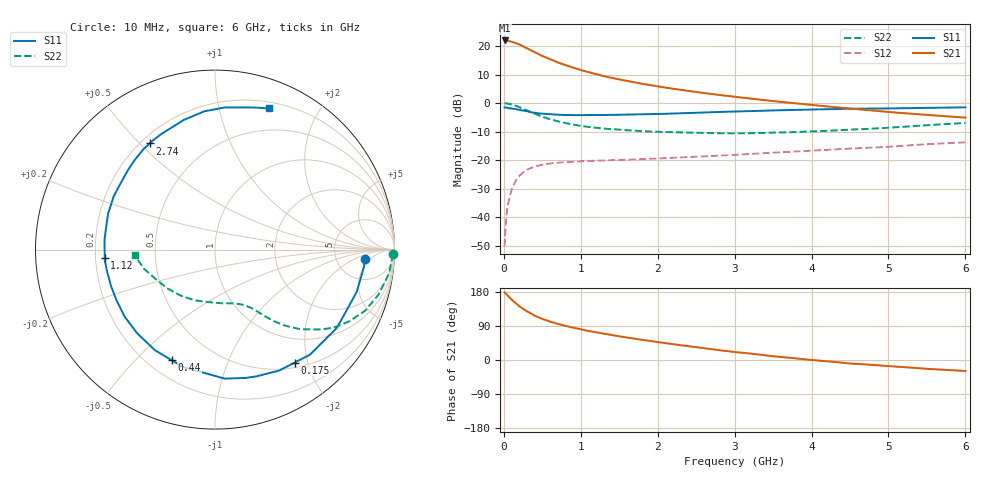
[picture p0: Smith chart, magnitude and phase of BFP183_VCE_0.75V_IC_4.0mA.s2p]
! Infineon Technologies  Discrete & RF Semiconductors
! BFP183
! VCE = 0.75V,  IC =  4.0 mA
! Common Emitter S-Parameters:  Jan 2016
# GHz  S  MA  R  50
!  f  S11  S21  S12  S22
! GHz  MAG  ANG  MAG  ANG  MAG  ANG  MAG  ANG
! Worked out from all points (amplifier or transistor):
!   210 points, 10 MHz to 6 GHz, reference 50 ohm
!   highest |S21| = 21.9 dB at 10 MHz (marker M1)
!   |S21| within 3 dB of that: start of sweep to 320.5 MHz
!   unconditionally stable (mu >= 1): 1.594 GHz to end of sweep
!   at 185 MHz: K = 0.15, MSG = 23.4 dB, |S12| = -26.1 dB
!   at 1.52 GHz: K = 0.97, MSG = 14.1 dB, |S12| = -19.9 dB
!   at 6 GHz: K = 1.07, MAG = 2.7 dB, |S12| = -13.8 dB
!   S11 on the Smith chart (normalised r, x): 10 MHz: 10, -3; 175 MHz: 0.58, -1.78; 440 MHz: 0.29, -0.64; 1.12 GHz: 0.24, -0.04; 2.74 GHz: 0.23, +0.54; 6 GHz: 0.26, +1.42
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0.01  0.837 -3.4  12.5 178.2  0.0031 85.1  0.9935 -1.5
0.025  0.8318 -8.3  12.4 175.3  0.0078 85.4  0.9852 -4.0
0.05  0.8241 -16.5  12.42 169.7  0.0157 82.9  0.9793 -7.8
0.1  0.8073 -32.6  11.91 159.8  0.0295 72.2  0.9449 -15.4
0.15  0.7892 -47.9  11.3 150.5  0.0424 65.0  0.9029 -22.2
0.175  0.7702 -54.8  10.96 146.4  0.0475 61.6  0.8749 -25.0
0.2  0.763 -62.0  10.69 142.0  0.0527 58.8  0.8492 -28.0
0.3  0.7208 -85.7  9.145 128.5  0.0678 48.2  0.7413 -36.9
0.4  0.6778 -105.2  7.82 117.0  0.0772 40.3  0.6509 -43.0
0.44  0.662 -111.3  7.351 113.8  0.0795 38.1  0.6202 -44.6
0.5  0.653 -120.8  6.697 108.3  0.0832 35.0  0.5753 -47.4
0.6  0.6367 -133.1  5.869 101.4  0.0874 31.1  0.5202 -50.3
0.7  0.6265 -143.5  5.139 95.4  0.0899 28.2  0.4783 -52.4
1.02  0.6134 -169.3  3.723 80.0  0.0952 23.0  0.3941 -57.3
1.12  0.6164 -175.6  3.425 76.0  0.0966 22.2  0.3783 -58.6
1.5  0.6224 165.2  2.594 62.4  0.1005 20.7  0.3403 -64.0
2.02  0.6435 144.2  1.932 46.8  0.107 21.0  0.3129 -73.0
2.74  0.6946 121.6  1.418 27.5  0.1186 21.5  0.2963 -90.0
3.1  0.7146 112.5  1.243 19.1  0.1256 21.3  0.295 -99.8
4.1  0.7756 92.7  0.899 -1.6  0.1491 19.5  0.3221 -129.2
5.1  0.8077 78.9  0.68 -17.4  0.1748 16.5  0.3764 -156.2
6  0.8416 69.2  0.555 -29.1  0.2045 10.2  0.4482 -176.0
